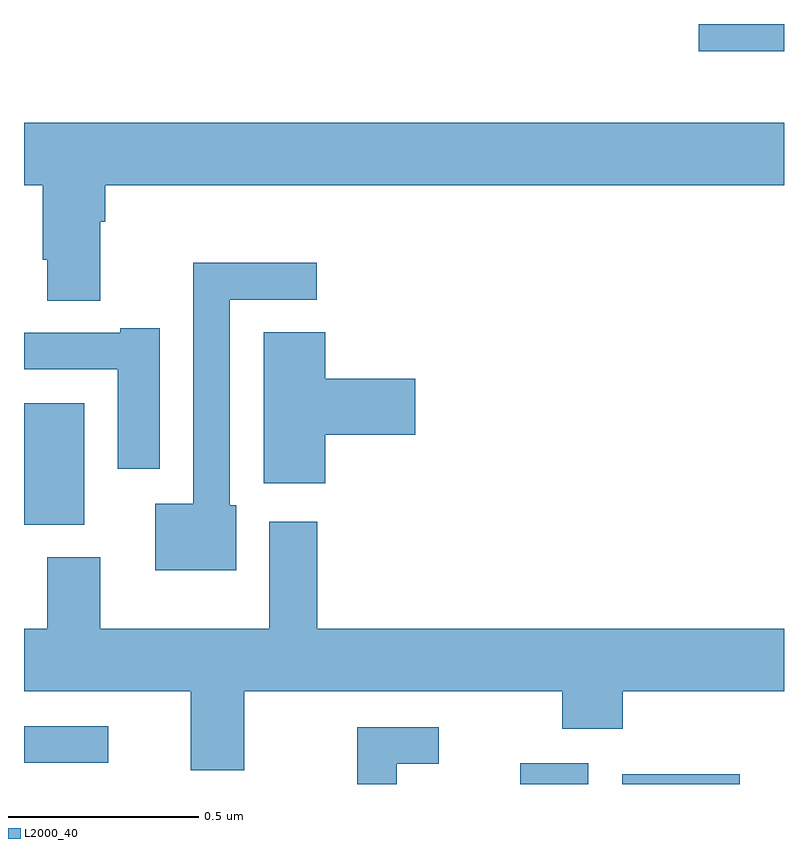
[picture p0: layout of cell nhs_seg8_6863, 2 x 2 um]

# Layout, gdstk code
import gdstk
lib = gdstk.Library(unit=1e-6, precision=1e-09)
def R(c, l, rs):  # rectangles x0, y0, x1, y1
    for r in rs: c.add(gdstk.rectangle(r[:2], r[2:], *l))
def P(c, l, *ps):  # polygons
    for p in ps: c.add(gdstk.Polygon(p, *l))
L2000_40 = (2000, 40)

nhs_seg8_6863 = lib.new_cell('nhs_seg8_6863')
R(nhs_seg8_6863, L2000_40, [(203.306,1138.9,203.485,1138.954), (203.574,1138.9,203.884,1138.926), (202,1138.956,202.222,1139.052), (202,1139.582,202.159,1139.902), (203.775,1140.828,204,1140.9)])
P(nhs_seg8_6863, L2000_40, [(202.201,1140.38),(202.214,1140.38),(202.214,1140.476),(204,1140.476),(204,1140.64),(202,1140.64),(202,1140.476),(202.049,1140.476),(202.049,1140.28),(202.061,1140.28),(202.061,1140.172),(202.201,1140.172)],
  [(202.558,1139.634),(202.542,1139.634),(202.542,1140.174),(202.771,1140.174),(202.771,1140.272),(202.446,1140.272),(202.446,1139.638),(202.346,1139.638),(202.346,1139.462),(202.558,1139.462)],
  [(202.357,1140.1),(202.253,1140.1),(202.253,1140.087),(202,1140.087),(202,1139.991),(202.247,1139.991),(202.247,1139.73),(202.357,1139.73)],
  [(202.793,1139.819),(203.029,1139.819),(203.029,1139.966),(202.793,1139.966),(202.793,1140.089),(202.631,1140.089),(202.631,1139.691),(202.793,1139.691)],
  [(202.579,1139.144),(203.416,1139.144),(203.416,1139.045),(203.576,1139.045),(203.576,1139.144),(204,1139.144),(204,1139.308),(202.772,1139.308),(202.772,1139.59),(202.646,1139.59),(202.646,1139.308),(202.201,1139.308),(202.201,1139.497),(202.061,1139.497),(202.061,1139.308),(202,1139.308),(202,1139.144),(202.439,1139.144),(202.439,1138.936),(202.579,1138.936)],
  [(202.981,1138.953),(203.092,1138.953),(203.092,1139.049),(202.877,1139.049),(202.877,1138.9),(202.981,1138.9)])

lib.write_gds('nhs_seg8_6863.gds')
